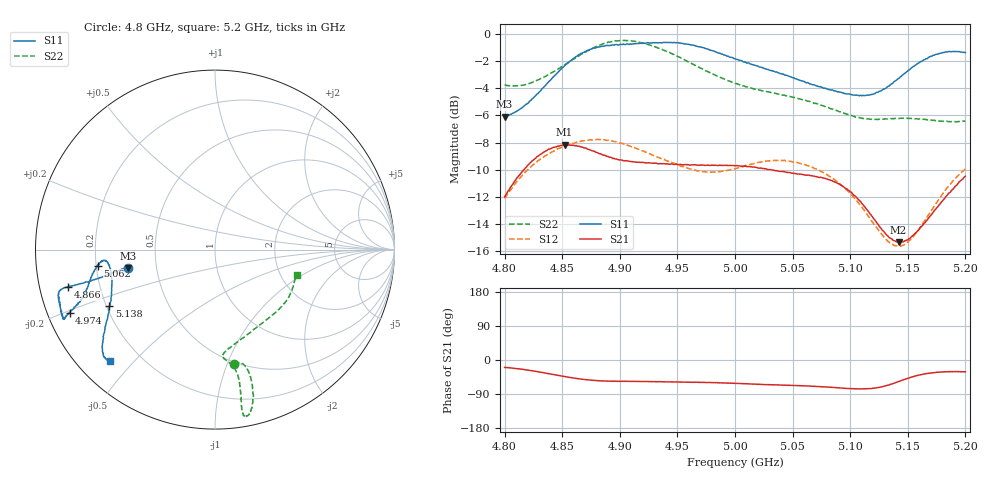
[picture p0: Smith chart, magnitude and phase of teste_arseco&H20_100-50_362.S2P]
! Network Analyzer HP8722D
! Hewlett-Packard
! Data name: Linha & Wilkinson
! Saver's name: Rodrigo Anjos
! Comments: Teste da utilização de aquisição
! continua pelo VNA HP8722D
! Time and date: 6/5/2025 15:35
!  Frequency  S11  S21  S12  S22
# HZ  S  MA R 50
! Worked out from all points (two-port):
!   401 points, 4.8 GHz to 5.2 GHz, reference 50 ohm
!   highest |S21| = -8.16 dB at 4.852 GHz (marker M1); lowest = -15.3 dB at 5.142 GHz (marker M2)
!   |S21| within 3 dB of the highest: 4.806 GHz to 5.093 GHz (286.3 MHz wide, 5.79 % of centre); 5.191905 GHz to end of sweep
!   lowest |S11| = -6.1 dB at 4.8 GHz (marker M3), VSWR 2.97, Z = 17 - j4.6 ohm
!   |S11| at or under -10 dB: nowhere
!   |S22| runs from -6.5 to -0.5 dB; largest |S21 - S12| = 0.62
!   S11 on the Smith chart (normalised r, x): 4.8 GHz: 0.34, -0.09; 4.866 GHz: 0.09, -0.13; 4.974 GHz: 0.06, -0.21; 5.062 GHz: 0.21, -0.07; 5.138 GHz: 0.21, -0.24; 5.2 GHz: 0.09, -0.43
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4.8e9  0.4962 -168.1  0.2516 -19.6  0.2483 -140.7  0.6487 -80.4
4.823e9  0.5703 -167.5  0.338 -28.0  0.3248 -143.6  0.6602 -76.0
4.852e9  0.7627 -165.8  0.3907 -43.7  0.3867 -149.2  0.7692 -74.5
4.866e9  0.8454 -165.6  0.3843 -50.2  0.4027 -151.7  0.837 -75.2
4.867e9  0.8484 -165.8  0.3836 -50.7  0.4035 -151.9  0.8434 -75.3
4.898e9  0.9105 -162.8  0.3453 -56.1  0.3989 -156.4  0.9421 -78.9
4.914e9  0.92 -159.6  0.3374 -56.4  0.379 -157.0  0.9371 -80.3
4.934e9  0.9278 -156.2  0.333 -57.3  0.351 -155.6  0.8835 -80.5
4.949e9  0.9277 -155.3  0.3315 -57.7  0.3317 -152.9  0.8306 -80.0
4.974e9  0.8837 -156.5  0.3282 -59.2  0.3112 -145.4  0.7347 -79.6
5e9  0.8091 -158.8  0.3273 -61.7  0.3195 -137.1  0.6573 -81.2
5.036e9  0.7238 -165.5  0.314 -65.8  0.342 -134.4  0.6028 -85.7
5.062e9  0.6599 -172.1  0.3021 -68.5  0.3291 -136.3  0.568 -83.8
5.067e9  0.6495 -172.9  0.3008 -69.0  0.3232 -136.7  0.5594 -82.7
5.101e9  0.5974 -172.1  0.2615 -75.7  0.2561 -138.7  0.5011 -66.6
5.116e9  0.5948 -165.4  0.2218 -75.9  0.213 -135.5  0.4862 -55.8
5.134e9  0.6439 -154.1  0.1781 -65.5  0.1711 -120.8  0.4864 -43.4
5.138e9  0.6668 -151.8  0.1738 -61.3  0.167 -115.7  0.4875 -40.8
5.142e9  0.6837 -149.7  0.1715 -56.6  0.1661 -110.3  0.4883 -38.6
5.154e9  0.7541 -144.3  0.181 -44.6  0.1788 -95.1  0.4882 -32.3
5.172e9  0.8336 -138.9  0.2209 -33.4  0.2294 -81.1  0.4807 -24.5
5.2e9  0.8524 -133.5  0.2998 -31.3  0.3184 -76.7  0.4774 -17.6
